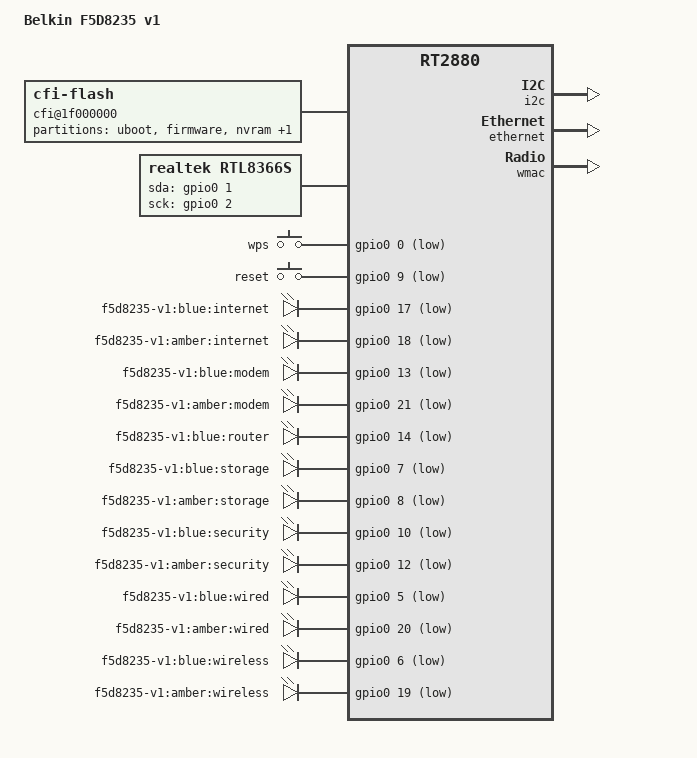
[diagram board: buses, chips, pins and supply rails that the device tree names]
/dts-v1/;

#include "rt2880.dtsi"

/ {
	#address-cells = <1>;
	#size-cells = <1>;
	compatible = "F5D8235_V1", "ralink,rt2880-soc";
	model = "Belkin F5D8235 v1";

	cfi@1f000000 {
		compatible = "cfi-flash";
		reg = <0xbc400000 0x800000>;
		bank-width = <2>;
		device-width = <2>;
		#address-cells = <1>;
		#size-cells = <1>;

		uboot: partition@0 {
			label = "uboot";
			reg = <0x0 0x50000>;
			read-only;
		};

		partition@50000 {
			label = "firmware";
			reg = <0x50000 0x790000>;
		};

		partition@7e0000 {
			label = "nvram";
			reg = <0x7e0000 0x10000>;
		};

		factory: partition@7f0000 {
			label = "factory";
			reg = <0x7f0000 0x10000>;
		};
	};

	rtl8366s {
		compatible = "realtek,rtl8366s";
		gpio-sda = <&gpio0 1 0>;
		gpio-sck = <&gpio0 2 0>;
	};

	gpio-keys-polled {
		compatible = "gpio-keys-polled";
		#address-cells = <1>;
		#size-cells = <0>;
		poll-interval = <100>;

		wps {
			label = "wps";
			gpios = <&gpio0 0 1>;
			linux,code = <0x211>;
		};

		reset {
			label = "reset";
			gpios = <&gpio0 9 1>;
			linux,code = <0x198>;
		};
	};

	gpio-leds {
		compatible = "gpio-leds";

		internet {
			label = "f5d8235-v1:blue:internet";
			gpios = <&gpio0 17 1>;
		};

		internet2 {
			label = "f5d8235-v1:amber:internet";
			gpios = <&gpio0 18 1>;
		};

		modem {
			label = "f5d8235-v1:blue:modem";
			gpios = <&gpio0 13 1>;
		};

		modem2 {
			label = "f5d8235-v1:amber:modem";
			gpios = <&gpio0 21 1>;
		};

		router {
			label = "f5d8235-v1:blue:router";
			gpios = <&gpio0 14 1>;
		};

		storage {
			label = "f5d8235-v1:blue:storage";
			gpios = <&gpio0 7 1>;
		};

		storage2 {
			label = "f5d8235-v1:amber:storage";
			gpios = <&gpio0 8 1>;
		};

		security {
			label = "f5d8235-v1:blue:security";
			gpios = <&gpio0 10 1>;
		};

		security2 {
			label = "f5d8235-v1:amber:security";
			gpios = <&gpio0 12 1>;
		};

		wired {
			label = "f5d8235-v1:blue:wired";
			gpios = <&gpio0 5 1>;
		};

		wired2 {
			label = "f5d8235-v1:amber:wired";
			gpios = <&gpio0 20 1>;
		};

		wireless {
			label = "f5d8235-v1:blue:wireless";
			gpios = <&gpio0 6 1>;
		};

		wireless2 {
			label = "f5d8235-v1:amber:wireless";
			gpios = <&gpio0 19 1>;
		};
	};
};

&gpio0 {
	status = "okay";
};

&i2c {
	status = "okay";
};

&pinctrl {
	state_default: pinctrl0 {
		gpio {
			ralink,group = "spi", "i2c", "jtag", "mdio", "uartlite";
			ralink,function = "gpio";
		};
	};
};

&ethernet {
	status = "okay";
	mtd-mac-address = <&uboot 0x40004>;

	port@0 {
		mediatek,fixed-link = <1000 1 1 1>;
	};
};

&wmac {
	status = "okay";
	ralink,mtd-eeprom = <&uboot 0x40000>;
};
